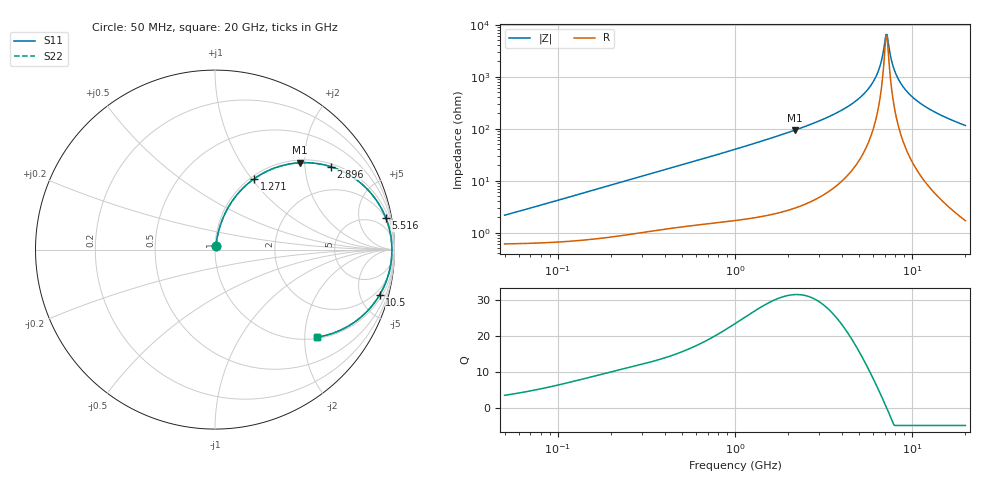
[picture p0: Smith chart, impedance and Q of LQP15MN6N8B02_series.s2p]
!Murata Part Number: LQP15MN6N8B02
!These Parameters are Measured in Series Mode Connection
!  o--[Z]--o
!Port1  Port2
!  o-------o
!Freq. Start=50[MHz] Stop=20[GHz], 401[Steps]
# Hz S RI R 50
!Freq.(Hz) S11(Real) S11(Imag) S21(Real) S21(Imag) S12(Real) S12(Imag) S22(Real) S22(Imag)
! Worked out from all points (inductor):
!   401 points, 50 MHz to 20 GHz, reference 50 ohm
!   read as one part in series: L = 6.65 nH near 51.52 MHz
!   highest Q = 31.6 at 2.179 GHz (marker M1), where L = 6.88 nH
!   self-resonance near 7.115 GHz
!   S11 on the Smith chart (normalised r, x): 50 MHz: 1.01, +0.04; 1.271 GHz: 1.04, +1.03; 2.896 GHz: 1.09, +2.71; 5.516 GHz: 2, +11; 10.5 GHz: 1.35, -7.17; 20 GHz: 1.03, -2.31
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5e7  0.00649 0.0206  0.9935 -0.0206  0.9935 -0.0206  0.00649 0.0206
1.364002e8  0.0103 0.0557  0.9897 -0.0557  0.9897 -0.0557  0.0103 0.0557
3.721004e8  0.0327 0.1445  0.9673 -0.1445  0.9673 -0.1445  0.0327 0.1445
1e9  0.15 0.3364  0.85 -0.3364  0.85 -0.3364  0.15 0.3364
1.270815e9  0.2194 0.3956  0.7806 -0.3956  0.7806 -0.3956  0.2194 0.3956
2.179053e9  0.4712 0.4836  0.5288 -0.4836  0.5288 -0.4836  0.4712 0.4836
2.728004e9  0.6067 0.4724  0.3933 -0.4724  0.3933 -0.4724  0.6067 0.4724
2.896447e9  0.6436 0.4626  0.3564 -0.4626  0.3564 -0.4626  0.6436 0.4626
4.275624e9  0.8597 0.3246  0.1403 -0.3246  0.1403 -0.3246  0.8597 0.3246
5.515528e9  0.9515 0.1769  0.0485 -0.1769  0.0485 -0.1769  0.9515 0.1769
6.034176e9  0.9706 0.118  0.0294 -0.118  0.0294 -0.118  0.9706 0.118
6.406762e9  0.9791 0.0775  0.0209 -0.0775  0.0209 -0.0775  0.9791 0.0775
6.701223e9  0.9832 0.0467  0.0168 -0.0467  0.0168 -0.0467  0.9832 0.0467
7.114996e9  0.9857 0.00537  0.0143 -0.00537  0.0143 -0.00537  0.9857 0.00537
7.222371e9  0.9857 -0.00499  0.0143 0.00499  0.0143 0.00499  0.9857 -0.00499
7.442007e9  0.9852 -0.0257  0.0148 0.0257  0.0148 0.0257  0.9852 -0.0257
7.784049e9  0.9827 -0.0567  0.0173 0.0567  0.0173 0.0567  0.9827 -0.0567
8.389408e9  0.9743 -0.1078  0.0257 0.1078  0.0257 0.1078  0.9743 -0.1078
9.178299e9  0.9571 -0.1676  0.0429 0.1676  0.0429 0.1676  0.9571 -0.1676
1.050288e10  0.9175 -0.252  0.0825 0.252  0.0825 0.252  0.9175 -0.252
1.396067e10  0.7875 -0.3965  0.2125 0.3965  0.2125 0.3965  0.7875 -0.3965
2e10  0.5709 -0.4876  0.4291 0.4876  0.4291 0.4876  0.5709 -0.4876
